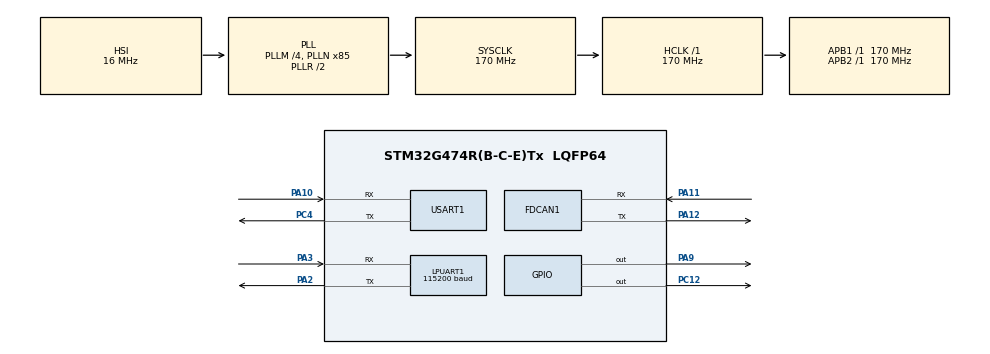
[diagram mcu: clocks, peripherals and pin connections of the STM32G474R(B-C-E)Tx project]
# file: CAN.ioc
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FDCAN1.AutoRetransmission=ENABLE
FDCAN1.CalculateBaudRateNominal=999999
FDCAN1.CalculateTimeBitNominal=1000
FDCAN1.CalculateTimeQuantumNominal=5.882352941176471
FDCAN1.DataSyncJumpWidth=11
FDCAN1.DataTimeSeg1=22
FDCAN1.DataTimeSeg2=11
FDCAN1.FrameFormat=FDCAN_FRAME_FD_BRS
FDCAN1.NominalPrescaler=1
FDCAN1.NominalSyncJumpWidth=57
FDCAN1.NominalTimeSeg1=112
FDCAN1.NominalTimeSeg2=57
LPUART1.BaudRate=115200
Mcu.Family=STM32G4
Mcu.Name=STM32G474R(B-C-E)Tx
Mcu.Package=LQFP64
NVIC.FDCAN1_IT0_IRQn=true\:0\:0\:false\:false\:true\:true\:true\:true
NVIC.LPUART1_IRQn=true\:0\:0\:false\:false\:true\:true\:true\:true
NVIC.PriorityGroup=NVIC_PRIORITYGROUP_4
NVIC.USART1_IRQn=true\:0\:0\:false\:false\:true\:true\:true\:true
PA10.Mode=Asynchronous
PA10.Signal=USART1_RX
PA11.Mode=FDCAN_Activate
PA11.Signal=FDCAN1_RX
PA12.Mode=FDCAN_Activate
PA12.Signal=FDCAN1_TX
PA13.Mode=Trace_Asynchronous_SW
PA13.Signal=SYS_JTMS-SWDIO
PA14.Mode=Trace_Asynchronous_SW
PA14.Signal=SYS_JTCK-SWCLK
PA2.Mode=Asynchronous
PA2.Signal=LPUART1_TX
PA3.Mode=Asynchronous
PA3.Signal=LPUART1_RX
PA9.Signal=GPIO_Output
PB3.Mode=Trace_Asynchronous_SW
PB3.Signal=SYS_JTDO-SWO
PC12.GPIO_ModeDefaultOutputPP=GPIO_MODE_OUTPUT_OD
PC12.GPIO_PuPd=GPIO_NOPULL
PC12.PinState=GPIO_PIN_SET
PC12.Signal=GPIO_Output
PC4.Mode=Asynchronous
PC4.Signal=USART1_TX
PF0-OSC_IN.Mode=HSE-External-Oscillator
PF0-OSC_IN.Signal=RCC_OSC_IN
PF1-OSC_OUT.Mode=HSE-External-Oscillator
PF1-OSC_OUT.Signal=RCC_OSC_OUT
ProjectManager.HeapSize=0x200
ProjectManager.StackSize=0x400
ProjectManager.TargetToolchain=STM32CubeIDE
RCC.ADC12Freq_Value=170000000
RCC.ADC345Freq_Value=170000000
RCC.AHBFreq_Value=170000000
RCC.APB1Freq_Value=170000000
RCC.APB1TimFreq_Value=170000000
RCC.APB2Freq_Value=170000000
RCC.APB2TimFreq_Value=170000000
RCC.CortexFreq_Value=170000000
RCC.EXTERNAL_CLOCK_VALUE=12288000
RCC.HCLKFreq_Value=170000000
RCC.HSE_VALUE=8000000
RCC.HSI48_VALUE=48000000
RCC.HSI_VALUE=16000000
RCC.LSE_VALUE=32768
RCC.PLLM=RCC_PLLM_DIV4
RCC.PLLN=85
RCC.SYSCLKFreq_VALUE=170000000
RCC.SYSCLKSource=RCC_SYSCLKSOURCE_PLLCLK
RCC.USBFreq_Value=170000000
RCC.VCOOutputFreq_Value=340000000
TIM2.PeriodNoDither=0xffffffff
TIM2.Prescaler=84
USART1.VirtualMode-Asynchronous=VM_ASYNC
VP_SYS_VS_DBSignals.Mode=DisableDeadBatterySignals
VP_TIM2_VS_ClockSourceINT.Mode=Internal
board=custom

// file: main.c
/* USER CODE BEGIN Header */
/**
  ******************************************************************************
  * @file           : main.c
  * @brief          : Main program body
  ******************************************************************************
  * @attention
  *
  * Copyright (c) 2026 STMicroelectronics.
  * All rights reserved.
  *
  * This software is licensed under terms that can be found in the LICENSE file
  * in the root directory of this software component.
  * If no LICENSE file comes with this software, it is provided AS-IS.
  *
  ******************************************************************************
  */
/* USER CODE END Header */
#include "main.h"

FDCAN_HandleTypeDef hfdcan1;

UART_HandleTypeDef hlpuart1;
UART_HandleTypeDef huart1;

TIM_HandleTypeDef htim2;

/* USER CODE BEGIN PV */

#define RX_BUF_SIZE 64
char HLPUART1_rxBuffer[RX_BUF_SIZE];
volatile uint8_t HUART1_rxBuffer;
volatile uint8_t uart_rx_index = 0;
volatile uint8_t rx_index = 0;
volatile uint8_t command_ready = 0;
volatile uint8_t stopped = 0;
volatile uint8_t uart1_ready = 0;

uint8_t rx_data_SERIAL;
uint8_t rx_data_ESP;

float target_position;
static moteus_motor_t* motor;
uint32_t cmd_timestamp_us = 0;

/* USER CODE END PV */

void SystemClock_Config(void);
static void MX_GPIO_Init(void);
static void MX_FDCAN1_Init(void);
static void MX_LPUART1_UART_Init(void);
static void MX_USART1_UART_Init(void);
static void MX_TIM2_Init(void);

/* USER CODE BEGIN 0 */

int __io_putchar(int ch)
{
 ITM_SendChar(ch);
 return(ch);
}

int _write(int32_t file, uint8_t *ptr, int32_t len)
{
	for (int i = 0; i < len; i++)
    {
        ITM_SendChar(*ptr++);
    }
    return len;
}
/* USER CODE END 0 */

int main(void)
{

  /* MCU Configuration--------------------------------------------------------*/

  /* Reset of all peripherals, Initializes the Flash interface and the Systick. */
  HAL_Init();

  /* Configure the system clock */
  SystemClock_Config();

  /* Initialize all configured peripherals */
  MX_GPIO_Init();
  MX_FDCAN1_Init();
  MX_LPUART1_UART_Init();
  MX_USART1_UART_Init();
  MX_TIM2_Init();
  /* USER CODE BEGIN 2 */

  // turn on relay, PC12
  HAL_Delay(5000);
  HAL_GPIO_WritePin(GPIOC, GPIO_PIN_12, GPIO_PIN_RESET);
  // pull STBY LOW, PA9
  HAL_GPIO_WritePin(GPIOA, GPIO_PIN_9, GPIO_PIN_RESET);

  if (HAL_FDCAN_ConfigTxDelayCompensation(&hfdcan1, (hfdcan1.Init.DataPrescaler * hfdcan1.Init.DataTimeSeg1), 0U) != HAL_OK)
  {
    Error_Handler();
  }

  if (HAL_FDCAN_EnableTxDelayCompensation(&hfdcan1) != HAL_OK)
  {
    Error_Handler();
  }

  motor_init();

  moteus_position_cmd_t cmd = MOTEUS_STARTUP_SEQ_CMD;
  HAL_UART_Receive_IT(&hlpuart1,&rx_data_SERIAL,1);
  HAL_UART_Receive_IT(&huart1, (uint8_t *)&rx_data_ESP, 1);

  cmd.position = 0.0f;  // or whatever your home/default position is
  HAL_TIM_Base_Start_IT(&htim2);

  /* USER CODE END 2 */

  /* Infinite loop */
  /* USER CODE BEGIN WHILE */
  while (1)
  {
	  if (command_ready)
	  {
	      command_ready = 0;
	      char *endptr;

	      // Add this: if user sends "stop", clear fault
	      if (strncmp(HLPUART1_rxBuffer, "STOP", 4) == 0)
	      {
	    	  motor_stop();
	          stopped = 1;

	          HAL_UART_Transmit(&hlpuart1, (uint8_t*)"Motor stopped\r\n", 15, 100);
	          HAL_GPIO_WritePin(GPIOC, GPIO_PIN_12, GPIO_PIN_SET);
	      }
	      else
	      {
	          float position = strtof(HLPUART1_rxBuffer, &endptr);
	          if (endptr == HLPUART1_rxBuffer) {
	              HAL_UART_Transmit(&hlpuart1, (uint8_t*)"Invalid parameters\r\n", 20, 100);
	          } else {
		          HAL_GPIO_WritePin(GPIOC, GPIO_PIN_12, GPIO_PIN_RESET);
	              cmd.position = position;
	              stopped = 0;
	          }
	      }
	      memset(HLPUART1_rxBuffer, 0, RX_BUF_SIZE);
	  }

	  else if (uart1_ready)
	  {
		  uart1_ready = 0;
		  if (HUART1_rxBuffer == 0x01)
		  {
	          motor_stop();
	          stopped = 1;

	          HAL_UART_Transmit(&hlpuart1, (uint8_t*)"Motor stopped\r\n", 15, 100);
	          HAL_GPIO_WritePin(GPIOC, GPIO_PIN_12, GPIO_PIN_SET);
		  }
		  else if (HUART1_rxBuffer == 0x02)
		  {
	          HAL_GPIO_WritePin(GPIOC, GPIO_PIN_12, GPIO_PIN_RESET);
              cmd.position = 0.0;
              stopped = 0;
		  }
		  HUART1_rxBuffer = 0;

	  }

	  else if (!stopped) {
	      moteus_begin_position(motor, &cmd);
          cmd_timestamp_us = get_timestamp_raw() / 2;
	  }

	  HAL_Delay(1);
	  print_motor_state(cmd.position);

    /* USER CODE END WHILE */

  }
}

void SystemClock_Config(void)
{
  RCC_OscInitTypeDef RCC_OscInitStruct = {0};
  RCC_ClkInitTypeDef RCC_ClkInitStruct = {0};

  /** Configure the main internal regulator output voltage
  */
  HAL_PWREx_ControlVoltageScaling(PWR_REGULATOR_VOLTAGE_SCALE1_BOOST);

  /** Initializes the RCC Oscillators according to the specified parameters
  * in the RCC_OscInitTypeDef structure.
  */
  RCC_OscInitStruct.OscillatorType = RCC_OSCILLATORTYPE_HSI;
  RCC_OscInitStruct.HSIState = RCC_HSI_ON;
  RCC_OscInitStruct.HSICalibrationValue = RCC_HSICALIBRATION_DEFAULT;
  RCC_OscInitStruct.PLL.PLLState = RCC_PLL_ON;
  RCC_OscInitStruct.PLL.PLLSource = RCC_PLLSOURCE_HSI;
  RCC_OscInitStruct.PLL.PLLM = RCC_PLLM_DIV4;
  RCC_OscInitStruct.PLL.PLLN = 85;
  RCC_OscInitStruct.PLL.PLLP = RCC_PLLP_DIV2;
  RCC_OscInitStruct.PLL.PLLQ = RCC_PLLQ_DIV2;
  RCC_OscInitStruct.PLL.PLLR = RCC_PLLR_DIV2;
  if (HAL_RCC_OscConfig(&RCC_OscInitStruct) != HAL_OK)
  {
    Error_Handler();
  }

  /** Initializes the CPU, AHB and APB buses clocks
  */
  RCC_ClkInitStruct.ClockType = RCC_CLOCKTYPE_HCLK|RCC_CLOCKTYPE_SYSCLK
                              |RCC_CLOCKTYPE_PCLK1|RCC_CLOCKTYPE_PCLK2;
  RCC_ClkInitStruct.SYSCLKSource = RCC_SYSCLKSOURCE_PLLCLK;
  RCC_ClkInitStruct.AHBCLKDivider = RCC_SYSCLK_DIV1;
  RCC_ClkInitStruct.APB1CLKDivider = RCC_HCLK_DIV1;
  RCC_ClkInitStruct.APB2CLKDivider = RCC_HCLK_DIV1;

  if (HAL_RCC_ClockConfig(&RCC_ClkInitStruct, FLASH_LATENCY_4) != HAL_OK)
  {
    Error_Handler();
  }
}

static void MX_FDCAN1_Init(void)
{

  hfdcan1.Instance = FDCAN1;
  hfdcan1.Init.ClockDivider = FDCAN_CLOCK_DIV1;
  hfdcan1.Init.FrameFormat = FDCAN_FRAME_FD_BRS;
  hfdcan1.Init.Mode = FDCAN_MODE_NORMAL;
  hfdcan1.Init.AutoRetransmission = ENABLE;
  hfdcan1.Init.TransmitPause = DISABLE;
  hfdcan1.Init.ProtocolException = DISABLE;
  hfdcan1.Init.NominalPrescaler = 1;
  hfdcan1.Init.NominalSyncJumpWidth = 57;
  hfdcan1.Init.NominalTimeSeg1 = 112;
  hfdcan1.Init.NominalTimeSeg2 = 57;
  hfdcan1.Init.DataPrescaler = 1;
  hfdcan1.Init.DataSyncJumpWidth = 11;
  hfdcan1.Init.DataTimeSeg1 = 22;
  hfdcan1.Init.DataTimeSeg2 = 11;
  hfdcan1.Init.StdFiltersNbr = 0;
  hfdcan1.Init.ExtFiltersNbr = 0;
  hfdcan1.Init.TxFifoQueueMode = FDCAN_TX_FIFO_OPERATION;
  if (HAL_FDCAN_Init(&hfdcan1) != HAL_OK)
  {
    Error_Handler();
  }

}

static void MX_LPUART1_UART_Init(void)
{

  hlpuart1.Instance = LPUART1;
  hlpuart1.Init.BaudRate = 115200;
  hlpuart1.Init.WordLength = UART_WORDLENGTH_8B;
  hlpuart1.Init.StopBits = UART_STOPBITS_1;
  hlpuart1.Init.Parity = UART_PARITY_NONE;
  hlpuart1.Init.Mode = UART_MODE_TX_RX;
  hlpuart1.Init.HwFlowCtl = UART_HWCONTROL_NONE;
  hlpuart1.Init.OneBitSampling = UART_ONE_BIT_SAMPLE_DISABLE;
  hlpuart1.Init.ClockPrescaler = UART_PRESCALER_DIV1;
  hlpuart1.AdvancedInit.AdvFeatureInit = UART_ADVFEATURE_NO_INIT;
  if (HAL_UART_Init(&hlpuart1) != HAL_OK)
  {
    Error_Handler();
  }
  if (HAL_UARTEx_SetTxFifoThreshold(&hlpuart1, UART_TXFIFO_THRESHOLD_1_8) != HAL_OK)
  {
    Error_Handler();
  }
  if (HAL_UARTEx_SetRxFifoThreshold(&hlpuart1, UART_RXFIFO_THRESHOLD_1_8) != HAL_OK)
  {
    Error_Handler();
  }
  if (HAL_UARTEx_DisableFifoMode(&hlpuart1) != HAL_OK)
  {
    Error_Handler();
  }

}

static void MX_USART1_UART_Init(void)
{

  huart1.Instance = USART1;
  huart1.Init.BaudRate = 115200;
  huart1.Init.WordLength = UART_WORDLENGTH_8B;
  huart1.Init.StopBits = UART_STOPBITS_1;
  huart1.Init.Parity = UART_PARITY_NONE;
  huart1.Init.Mode = UART_MODE_TX_RX;
  huart1.Init.HwFlowCtl = UART_HWCONTROL_NONE;
  huart1.Init.OverSampling = UART_OVERSAMPLING_16;
  huart1.Init.OneBitSampling = UART_ONE_BIT_SAMPLE_DISABLE;
  huart1.Init.ClockPrescaler = UART_PRESCALER_DIV1;
  huart1.AdvancedInit.AdvFeatureInit = UART_ADVFEATURE_NO_INIT;
  if (HAL_UART_Init(&huart1) != HAL_OK)
  {
    Error_Handler();
  }
  if (HAL_UARTEx_SetTxFifoThreshold(&huart1, UART_TXFIFO_THRESHOLD_1_8) != HAL_OK)
  {
    Error_Handler();
  }
  if (HAL_UARTEx_SetRxFifoThreshold(&huart1, UART_RXFIFO_THRESHOLD_1_8) != HAL_OK)
  {
    Error_Handler();
  }
  if (HAL_UARTEx_DisableFifoMode(&huart1) != HAL_OK)
  {
    Error_Handler();
  }

}

static void MX_TIM2_Init(void)
{

  TIM_ClockConfigTypeDef sClockSourceConfig = {0};
  TIM_MasterConfigTypeDef sMasterConfig = {0};

  htim2.Instance = TIM2;
  htim2.Init.Prescaler = 84;
  htim2.Init.CounterMode = TIM_COUNTERMODE_UP;
  htim2.Init.Period = 4294967295;
  htim2.Init.ClockDivision = TIM_CLOCKDIVISION_DIV1;
  htim2.Init.AutoReloadPreload = TIM_AUTORELOAD_PRELOAD_DISABLE;
  if (HAL_TIM_Base_Init(&htim2) != HAL_OK)
  {
    Error_Handler();
  }
  sClockSourceConfig.ClockSource = TIM_CLOCKSOURCE_INTERNAL;
  if (HAL_TIM_ConfigClockSource(&htim2, &sClockSourceConfig) != HAL_OK)
  {
    Error_Handler();
  }
  sMasterConfig.MasterOutputTrigger = TIM_TRGO_RESET;
  sMasterConfig.MasterSlaveMode = TIM_MASTERSLAVEMODE_DISABLE;
  if (HAL_TIMEx_MasterConfigSynchronization(&htim2, &sMasterConfig) != HAL_OK)
  {
    Error_Handler();
  }

}

static void MX_GPIO_Init(void)
{
  GPIO_InitTypeDef GPIO_InitStruct = {0};

  /* GPIO Ports Clock Enable */
  __HAL_RCC_GPIOF_CLK_ENABLE();
  __HAL_RCC_GPIOA_CLK_ENABLE();
  __HAL_RCC_GPIOC_CLK_ENABLE();
  __HAL_RCC_GPIOB_CLK_ENABLE();

  /*Configure GPIO pin Output Level */
  HAL_GPIO_WritePin(GPIOA, GPIO_PIN_9, GPIO_PIN_RESET);

  /*Configure GPIO pin Output Level */
  HAL_GPIO_WritePin(GPIOC, GPIO_PIN_12, GPIO_PIN_SET);

  /*Configure GPIO pin : PA9 */
  GPIO_InitStruct.Pin = GPIO_PIN_9;
  GPIO_InitStruct.Mode = GPIO_MODE_OUTPUT_PP;
  GPIO_InitStruct.Pull = GPIO_NOPULL;
  GPIO_InitStruct.Speed = GPIO_SPEED_FREQ_LOW;
  HAL_GPIO_Init(GPIOA, &GPIO_InitStruct);

  /*Configure GPIO pin : PC12 */
  GPIO_InitStruct.Pin = GPIO_PIN_12;
  GPIO_InitStruct.Mode = GPIO_MODE_OUTPUT_OD;
  GPIO_InitStruct.Pull = GPIO_NOPULL;
  GPIO_InitStruct.Speed = GPIO_SPEED_FREQ_LOW;
  HAL_GPIO_Init(GPIOC, &GPIO_InitStruct);

}

/* USER CODE BEGIN 4 */

void HAL_UART_RxCpltCallback(UART_HandleTypeDef *huart)
{
    if (huart->Instance == LPUART1)
    {

        if (rx_data_SERIAL == '\r' || rx_data_SERIAL == '\n')
        {
        	char crlf[] = "\r\n";
        	HAL_UART_Transmit(huart,(uint8_t*)crlf,2,10);
            if (rx_index > 0)
            {
            	HLPUART1_rxBuffer[rx_index] = '\0';
                command_ready = 1;
            }

            rx_index = 0;
        }
        else if (rx_index < (RX_BUF_SIZE - 1))
        {
            HAL_UART_Transmit(huart,(uint8_t*)&rx_data_SERIAL,1,10);
            HLPUART1_rxBuffer[rx_index++] = rx_data_SERIAL;
        }
        else
        {
            // Buffer overflow protection
            rx_index = 0;
        }

        HAL_UART_Receive_IT(huart, (uint8_t *)&rx_data_SERIAL, 1);

    }

	else if (huart->Instance == USART1)
		{
//			char msg [10];
//			sprintf(msg, "%02X\r\n", rx_data_ESP);
//			HAL_UART_Transmit(&hlpuart1,(uint8_t*)msg,strlen(msg),10);
			HUART1_rxBuffer = rx_data_ESP;
			uart1_ready = 1;
			HAL_UART_Receive_IT(huart, (uint8_t *)&rx_data_ESP, 1);

		}
}

void HAL_FDCAN_RxFifo0Callback(FDCAN_HandleTypeDef *hfdcan, uint32_t RxFifo0ITs)
{
    (void)RxFifo0ITs;
    moteus_fdcan_rx_callback(hfdcan);

}

void print_motor_state(float command_motor_position)
{
	const moteus_result_t* r = moteus_set_query(motor);

    if (r) {
        printf("%" PRIu32"us,%s, %.3f rev, %.3f rev, %.3f rev/s, %.3f Nm, %.1f V, %.1f C, %.1f A, %.1f A\r\n", \
        		cmd_timestamp_us,moteus_mode_str(r->mode),command_motor_position, r->position, r->velocity ,r->torque,r->voltage,r->temperature, r->q_current, r->d_current );
//        printf("Mode: %s\r\n", moteus_mode_str(r->mode));
//        printf("Position: %.3f rev\r\n", r->position);
//        printf("Velocity: %.3f rev/s\r\n", r->velocity);
//        printf("Torque: %.3f Nm\r\n", r->torque);
//        printf("Voltage: %.1f V\r\n", r->voltage);
//        printf("Temperature: %.1f C\r\n", r->temperature);

        if (r->fault != MOTEUS_FAULT_NONE) {
            printf("FAULT: %s\r\n", moteus_fault_str(r->fault));
        }
    } else {
        printf("Query failed: %s\r\n", moteus_error_str(motor->last_error));
    }
}

void motor_init(void)
{
    // Initialize CAN peripheral
    moteus_can_init(&hfdcan1);

    // Create motor instance (ID 1)
    motor = moteus_init(&hfdcan1, 2);
    if (!motor) {
    	char failed_msg[]="Failed to initialize motor\r\n";
    	HAL_UART_Transmit(&hlpuart1,(uint8_t*)failed_msg,sizeof(failed_msg),10);
        return;
    }

    else
    {
    	char sucess_msg[]="Motor Initialised!\r\n";
    	HAL_UART_Transmit(&hlpuart1,(uint8_t*)sucess_msg,sizeof(sucess_msg),10);
    }

    // Optional: reduce timeout for faster failure detection
    motor->timeout_ms = 50;
}

void motor_stop(void)
{
    const moteus_result_t* r = moteus_set_stop(motor);
    if (r) {
        printf("Motor stopped.\n");
    }
}

//void print_motor_state(void)
//{
//    char buf[64];
//    int len;
//    const moteus_result_t* r = moteus_set_query(motor);
//
//    if (r) {
//        len = snprintf(buf, sizeof(buf), "Mode: %s\r\n", moteus_mode_str(r->mode));
//        HAL_UART_Transmit(&hlpuart1, (uint8_t*)buf, len, HAL_MAX_DELAY);
//
//        len = snprintf(buf, sizeof(buf), "Position: %.3f rev\r\n", r->position);
//        HAL_UART_Transmit(&hlpuart1, (uint8_t*)buf, len, HAL_MAX_DELAY);
//
//        len = snprintf(buf, sizeof(buf), "Velocity: %.3f rev/s\r\n", r->velocity);
//        HAL_UART_Transmit(&hlpuart1, (uint8_t*)buf, len, HAL_MAX_DELAY);
//
//        len = snprintf(buf, sizeof(buf), "Torque: %.3f Nm\r\n", r->torque);
//        HAL_UART_Transmit(&hlpuart1, (uint8_t*)buf, len, HAL_MAX_DELAY);
//
//        len = snprintf(buf, sizeof(buf), "Voltage: %.1f V\r\n", r->voltage);
//        HAL_UART_Transmit(&hlpuart1, (uint8_t*)buf, len, HAL_MAX_DELAY);
//
//        len = snprintf(buf, sizeof(buf), "Temperature: %.1f C\r\n", r->temperature);
//        HAL_UART_Transmit(&hlpuart1, (uint8_t*)buf, len, HAL_MAX_DELAY);
//
//        if (r->fault != MOTEUS_FAULT_NONE) {
//            len = snprintf(buf, sizeof(buf), "FAULT: %s\r\n", moteus_fault_str(r->fault));
//            HAL_UART_Transmit(&hlpuart1, (uint8_t*)buf, len, HAL_MAX_DELAY);
//        }
//    } else {
//        len = snprintf(buf, sizeof(buf), "Query failed: %s\r\n", moteus_error_str(motor->last_error));
//        HAL_UART_Transmit(&hlpuart1, (uint8_t*)buf, len, HAL_MAX_DELAY);
//    }
//}

/* USER CODE END 4 */

void Error_Handler(void)
{
  __disable_irq();
  while (1)
  {
  }
}
